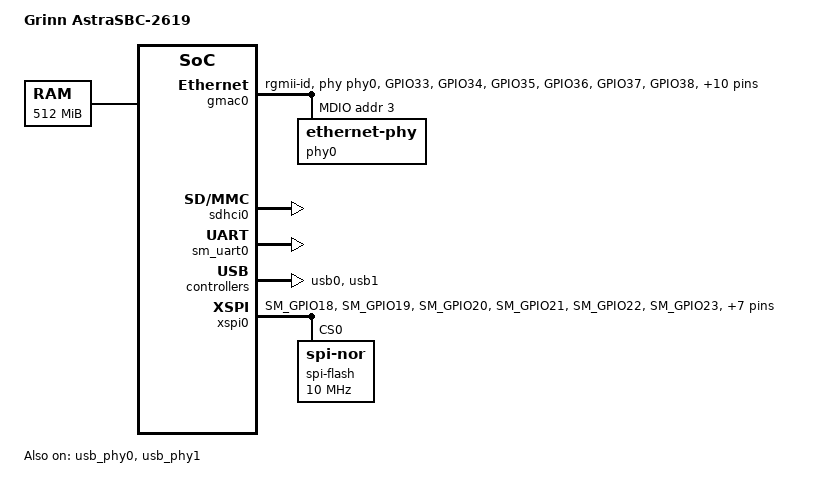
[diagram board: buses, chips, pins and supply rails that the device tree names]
// SPDX-License-Identifier: GPL-2.0+
/*
 * Copyright (C) 2016~2025 Synaptics Incorporated. All rights reserved.
 *
 * This program is free software; you can redistribute it and/or modify
 * it under the terms of the GNU General Public License version 2 or
 * later as published by the Free Software Foundation.
 *
 * INFORMATION CONTAINED IN THIS DOCUMENT IS PROVIDED "AS-IS," AND
 * SYNAPTICS EXPRESSLY DISCLAIMS ALL EXPRESS AND IMPLIED WARRANTIES,
 * INCLUDING ANY IMPLIED WARRANTIES OF MERCHANTABILITY AND FITNESS FOR
 * A PARTICULAR PURPOSE, AND ANY WARRANTIES OF NON-INFRINGEMENT OF ANY
 * INTELLECTUAL PROPERTY RIGHTS. IN NO EVENT SHALL SYNAPTICS BE LIABLE
 * FOR ANY DIRECT, INDIRECT, INCIDENTAL, SPECIAL, PUNITIVE, OR
 * CONSEQUENTIAL DAMAGES ARISING OUT OF OR IN CONNECTION WITH THE USE
 * OF THE INFORMATION CONTAINED IN THIS DOCUMENT, HOWEVER CAUSED AND
 * BASED ON ANY THEORY OF LIABILITY, WHETHER IN AN ACTION OF CONTRACT,
 * NEGLIGENCE OR OTHER TORTIOUS ACTION, AND EVEN IF SYNAPTICS WAS
 * ADVISED OF THE POSSIBILITY OF SUCH DAMAGE. IF A TRIBUNAL OF
 * COMPETENT JURISDICTION DOES NOT PERMIT THE DISCLAIMER OF DIRECT
 * DAMAGES OR ANY OTHER DAMAGES, SYNAPTICS' TOTAL CUMULATIVE LIABILITY
 * TO ANY PARTY SHALL NOT EXCEED ONE HUNDRED U.S. DOLLARS.
 */

/dts-v1/;

#include "klamath.dtsi"
#include <dt-bindings/gpio/gpio.h>

/ {
	model = "Grinn AstraSBC-2619";
	compatible = "Synaptics,klamath", "Synaptics,asserial";

	memory {
		device_type = "memory";
		reg = <0 0 0 0x20000000>;
	};

	chosen {
		stdout-path = &sm_uart0;
	};

	gmac0clk: gmac0clk {
		compatible = "fixed-clock";
		#clock-cells = <0>;
		clk_freq = <250000000>;
	};

	soc {
		eth0_txc_90deg: syscon@0xf7e10a18 {
			compatible = "simple-mfd", "syscon";
			reg = <0xf7e10a18 0x4>;
		};

		gmac0: ethernet@f7a04000 {
			compatible = "synaptics,klamath-dwmac-eqos";
			reg = <0xf7a04000 0x2000>;
			interrupts = <GIC_SPI 15 IRQ_TYPE_LEVEL_HIGH>;
			interrupt-names = "macirq";
			phy-mode = "rgmii";
			clocks = <&gmac0clk>;
			clock-names = "stmmaceth";
			resets = <&reset 0x350 6 0 1>;
			reset-names = "eqos";
			status = "disabled";
		};

		gpio0: gpio@f7f07000 {
			compatible = "snps,dw-apb-gpio";
			dev_name = "gpio_soc_0";
			reg = <0xf7f07000 0x400>;
			#address-cells = <1>;
			#size-cells = <0>;

			porta: gpio-port@0 {
				gpio-controller;
				#gpio-cells = <2>;
				ngpios = <32>;
				reg = <0>;
			};
		};
	};
};

&gmac0 {
	status = "okay";
	max-speed = <1000>;
	phy-mode = "rgmii-id";
	phy-handle = <&phy0>;
	phy = <&phy0>;
	phy-reset-gpios = <&porta 16 GPIO_ACTIVE_LOW>;
	pinctrl-names = "default";
	pinctrl-0 = <&eth0_pmux>, <&mdio_pmux>, <&eth0_phy_rst_pmux>;

	mdio {
		#address-cells = <1>;
		#size-cells = <0>;
		phy0: ethernet-phy@3 {
			device_type = "ethernet-phy";
			reg = <3>;
			rxc-skew-ps = <1500>;
			rxdv-skew-ps = <420>;
			rxd0-skew-ps = <420>;
			rxd1-skew-ps = <420>;
			rxd2-skew-ps = <420>;
			rxd3-skew-ps = <420>;
			txc-skew-ps = <900>;
			txen-skew-ps = <420>;
			txd0-skew-ps = <420>;
			txd1-skew-ps = <420>;
			txd2-skew-ps = <420>;
			txd3-skew-ps = <420>;
		};
	};
};

&pinctrl {
	eth0_phy_rst_pmux: eth0-phy-rst-pmux {
		groups = "GPIO16";
		function = "gpio";
	};

	eth0_pmux: eth0-pmux {
		groups = "GPIO33", "GPIO34", "GPIO35", "GPIO36", "GPIO37",
			 "GPIO38", "GPIO39", "GPIO40", "GPIO41", "GPIO42",
			 "GPIO43", "GPIO44";
		function = "rgmii1";
	};

	mdio_pmux: mdio-pmux {
		groups = "GPIO31", "GPIO32";
		function = "rgmii";
	};
};

&sdhci0 {
	status = "okay";
	pad_sn = <10>;
	pad_sp = <10>;
	mmc-ddr-1_8v;
	mmc-hs200-1_8v;
	mmc-hs400-1_8v;
	fixed-voltage;
};

&sm_uart0 {
	status = "okay";
};

&sysmgr_pinctrl {
	xspi0_pmux: xspi0-pmux {
		groups = "SM_GPIO18", "SM_GPIO19", "SM_GPIO20", "SM_GPIO21",
			 "SM_GPIO22", "SM_GPIO23", "SM_GPIO24", "SM_GPIO25",
			 "SM_GPIO26", "SM_GPIO27", "SM_GPIO28", "SM_GPIO29",
			 "SM_GPIO30";
		function = "xspi";
	};
};

&usb0 {
	compatible = "snps,dwc2-udc";
	status = "okay";
};

&usb1 {
	compatible = "snps,dwc2-host";
	status = "okay";
};

&usb_phy0 {
	status = "okay";
};

&usb_phy1 {
	status = "okay";
};

&xspi0 {
	status = "okay";
	pinctrl-0 = <&xspi0_pmux>;
	pinctrl-names = "default";

	spi-flash@0 {
		#address-cells = <1>;
		#size-cells = <1>;
		compatible = "jedec,spi-nor";
		reg = <0>;
		spi-max-frequency = <10000000>;
	};
};
